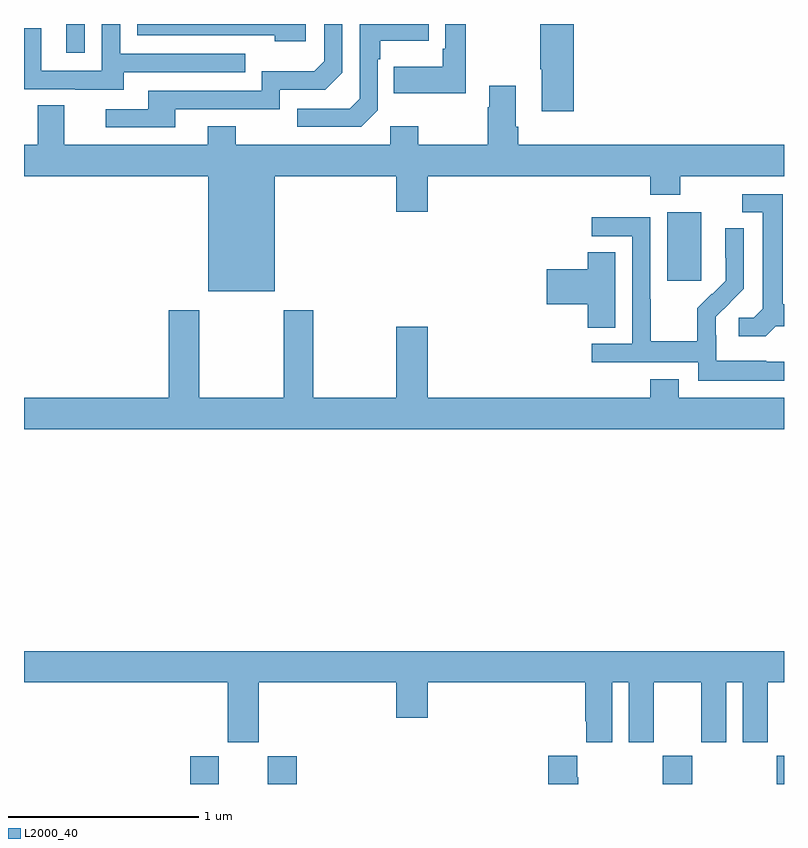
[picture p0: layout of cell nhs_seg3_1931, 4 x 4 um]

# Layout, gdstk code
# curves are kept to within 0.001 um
import gdstk
lib = gdstk.Library(unit=1e-6, precision=1e-09)
def R(c, l, rs):  # rectangles x0, y0, x1, y1
    for r in rs: c.add(gdstk.rectangle(r[:2], r[2:], *l))
def P(c, l, *ps):  # polygons
    for p in ps: c.add(gdstk.Polygon(p, *l))
L2000_40 = (2000, 40)

nhs_seg3_1931 = lib.new_cell('nhs_seg3_1931')
R(nhs_seg3_1931, L2000_40, [(211.874,680.4,212.026,680.547), (212.282,680.4,212.435,680.547), (214.363,680.4,214.518,680.548), (214.963,680.4,215,680.548), (214.385,683.049,214.564,683.41), (211.223,684.249,211.32,684.4)])
P(nhs_seg3_1931, L2000_40, [(211.795,683.952),(212.346,683.952),(212.346,684.054),(212.586,684.054),(212.676,684.144),(212.676,684.4),(212.58,684.4),(212.58,684.204),(212.527,684.151),(212.25,684.151),(212.25,684.048),(211.655,684.048),(211.655,683.952),(211.431,683.952),(211.431,683.856),(211.795,683.856)],
  [(213.325,684.4),(213.216,684.4),(213.216,684.271),(213.204,684.271),(213.204,684.175),(212.947,684.175),(212.947,684.035),(213.325,684.035)],
  [(212.862,683.946),(212.862,684.215),(212.875,684.215),(212.875,684.311),(213.131,684.311),(213.131,684.4),(212.766,684.4),(212.766,684.006),(212.715,683.955),(212.439,683.955),(212.439,683.859),(212.775,683.859)],
  [(211.525,684.147),(212.165,684.147),(212.165,684.243),(211.506,684.243),(211.506,684.4),(211.41,684.4),(211.41,684.153),(211.092,684.153),(211.092,684.377),(211,684.377),(211,684.057),(211.271,684.057),(211.271,684.053),(211.525,684.053)],
  [(213.893,684.4),(213.718,684.4),(213.718,684.163),(213.725,684.163),(213.725,683.94),(213.893,683.94)],
  [(212.482,684.4),(211.596,684.4),(211.596,684.342),(212.321,684.342),(212.321,684.308),(212.482,684.308)],
  [(212.32,683.6),(212.96,683.6),(212.96,683.412),(213.124,683.412),(213.124,683.6),(214.295,683.6),(214.295,683.501),(214.455,683.501),(214.455,683.6),(215,683.6),(215,683.764),(213.602,683.764),(213.602,683.86),(213.589,683.86),(213.589,684.076),(213.449,684.076),(213.449,683.963),(213.442,683.963),(213.442,683.764),(213.075,683.764),(213.075,683.863),(212.928,683.863),(212.928,683.764),(212.115,683.764),(212.115,683.863),(211.967,683.863),(211.967,683.764),(211.213,683.764),(211.213,683.972),(211.073,683.972),(211.073,683.764),(211,683.764),(211,683.6),(211.97,683.6),(211.97,682.994),(212.32,682.994)],
  [(214.956,682.809),(215,682.809),(215,682.925),(214.993,682.925),(214.993,683.505),(214.779,683.505),(214.779,683.409),(214.889,683.409),(214.889,682.901),(214.842,682.854),(214.761,682.854),(214.761,682.757),(214.904,682.757)],
  [(215,682.623),(214.907,682.623),(214.907,682.627),(214.644,682.627),(214.644,682.761),(214.642,682.761),(214.642,682.858),(214.788,683.006),(214.788,683.324),(214.692,683.324),(214.692,683.17),(214.694,683.17),(214.694,683.048),(214.623,682.977),(214.62,682.98),(214.543,682.903),(214.543,682.729),(214.299,682.729),(214.299,682.952),(214.296,682.952),(214.296,683.382),(213.987,683.382),(213.987,683.283),(214.2,683.283),(214.2,682.716),(213.987,682.716),(213.987,682.62),(214.548,682.62),(214.548,682.523),(215,682.523)],
  [(214.111,683.198),(213.968,683.198),(213.968,683.108),(213.75,683.108),(213.75,682.925),(213.968,682.925),(213.968,682.801),(214.111,682.801)],
  [(215,682.432),(214.447,682.432),(214.447,682.531),(214.295,682.531),(214.295,682.432),(213.124,682.432),(213.124,682.807),(212.96,682.807),(212.96,682.432),(212.523,682.432),(212.523,682.894),(212.368,682.894),(212.368,682.432),(211.923,682.432),(211.923,682.894),(211.763,682.894),(211.763,682.432),(211,682.432),(211,682.268),(215,682.268)],
  [(212.236,680.936),(212.96,680.936),(212.96,680.748),(213.124,680.748),(213.124,680.936),(213.953,680.936),(213.953,680.731),(213.959,680.731),(213.959,680.619),(214.096,680.619),(214.096,680.936),(214.184,680.936),(214.184,680.619),(214.315,680.619),(214.315,680.936),(214.565,680.936),(214.565,680.619),(214.696,680.619),(214.696,680.936),(214.784,680.936),(214.784,680.619),(214.915,680.619),(214.915,680.936),(215,680.936),(215,681.1),(211,681.1),(211,680.936),(212.072,680.936),(212.072,680.619),(212.236,680.619)],
  [(213.918,680.435),(213.913,680.435),(213.913,680.548),(213.758,680.548),(213.758,680.4),(213.918,680.4)])

lib.write_gds('nhs_seg3_1931.gds')
